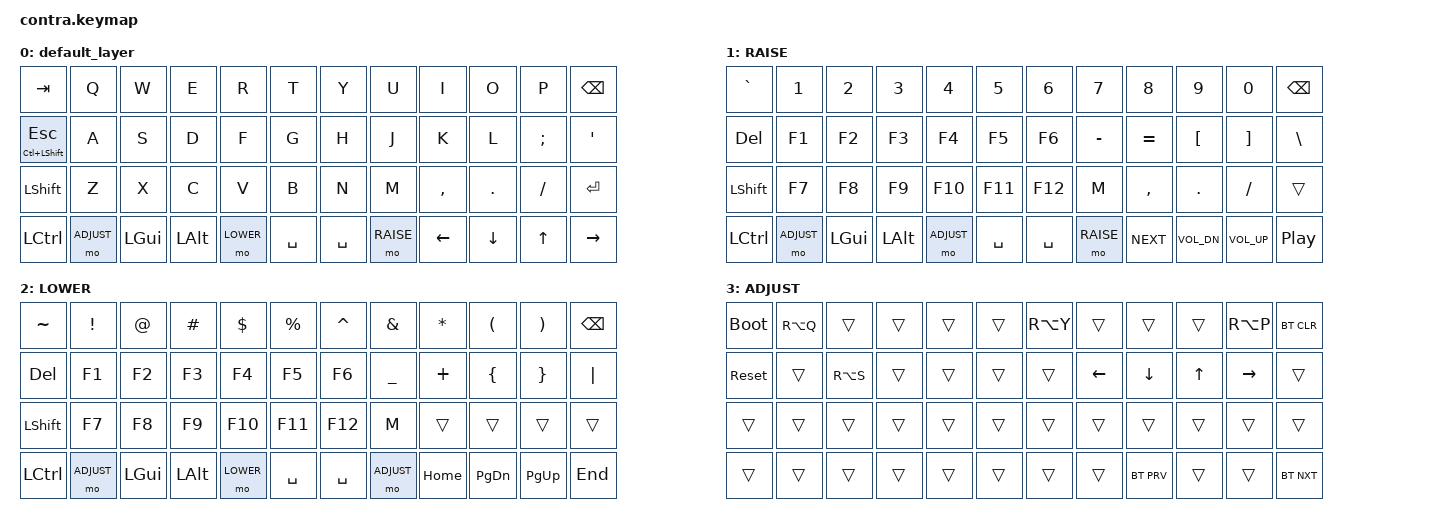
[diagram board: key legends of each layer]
#include <behaviors.dtsi>
#include <dt-bindings/zmk/keys.h>
#include <dt-bindings/zmk/bt.h>
#define DEFAULT 0
#define RAISE   1
#define LOWER   2 
#define ADJUST  3

/ {
    keymap {
        compatible = "zmk,keymap";

        default_layer {
            bindings = <
                &kp TAB     &kp Q       &kp W    &kp E     &kp R     &kp T       &kp Y     &kp U     &kp I     &kp O    &kp P    &kp BSPC
          &mt LC(LSHFT) ESC &kp A       &kp S    &kp D     &kp F     &kp G       &kp H     &kp J     &kp K     &kp L    &kp SEMI &kp SQT
                &kp LSHIFT  &kp Z       &kp X    &kp C     &kp V     &kp B       &kp N     &kp M     &kp COMMA &kp DOT  &kp FSLH &kp RET
                &kp LCTRL   &mo ADJUST  &kp LGUI &kp LALT  &mo LOWER &kp SPACE   &kp SPACE &mo RAISE &kp LEFT  &kp DOWN &kp UP   &kp RIGHT
                >;
            };        

        RAISE {
            bindings = <
                &kp GRAVE     &kp N1      &kp N2   &kp N3    &kp N4    &kp N5      &kp N6    &kp N7    &kp N8    &kp N9       &kp N0          &kp BSPC
                &kp DEL     &kp F1      &kp F2   &kp F3    &kp F4    &kp F5      &kp F6    &kp MINUS &kp EQUAL &kp LBKT     &kp RBKT        &kp BSLH
                &kp LSHIFT  &kp F7      &kp F8   &kp F9    &kp F10   &kp F11     &kp F12   &kp M     &kp COMMA &kp DOT      &kp FSLH        &trans
                &kp LCTRL   &mo ADJUST  &kp LGUI &kp LALT  &mo ADJUST &kp SPACE  &kp SPACE &mo RAISE &kp C_NEXT &kp C_VOL_DN &kp C_VOL_UP   &kp C_PLAY_PAUSE
                >;
            };
        LOWER {
            bindings = <
                &kp TILDE   &kp EXCL    &kp AT   &kp HASH  &kp DLLR  &kp PRCNT   &kp CARET &kp AMPS  &kp ASTRK &kp LPAR &kp RPAR &kp BSPC
                &kp DEL     &kp F1      &kp F2   &kp F3    &kp F4    &kp F5      &kp F6    &kp UNDER &kp PLUS  &kp LBRC &kp RBRC &kp PIPE
                &kp LSHFT   &kp F7      &kp F8   &kp F9    &kp F10   &kp F11     &kp F12   &kp M     &trans    &trans   &trans   &trans
                &kp LCTRL   &mo ADJUST  &kp LGUI &kp LALT  &mo LOWER &kp SPACE   &kp SPACE &mo ADJUST &kp HOME &kp PG_DN &kp PG_UP  &kp END
                >;
            };
        ADJUST {
            bindings = <
                &bootloader     &kp RA(Q)  &trans     &trans     &trans     &trans      &kp RA(Y)  &trans     &trans     &trans     &kp RA(P)  &bt BT_CLR    
                &sys_reset &trans     &kp RA(S)  &trans     &trans     &trans      &trans     &kp LEFT   &kp DOWN   &kp UP     &kp RIGHT  &trans    
                &trans     &trans     &trans     &trans     &trans     &trans      &trans     &trans     &trans     &trans     &trans     &trans    
                &trans     &trans     &trans     &trans     &trans     &trans      &trans     &trans     &bt BT_PRV     &trans     &trans     &bt BT_NXT    
            >;
        };

    };
};
